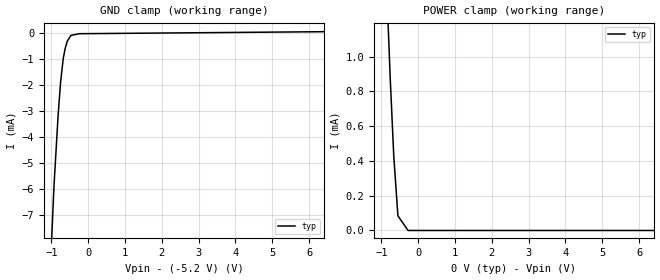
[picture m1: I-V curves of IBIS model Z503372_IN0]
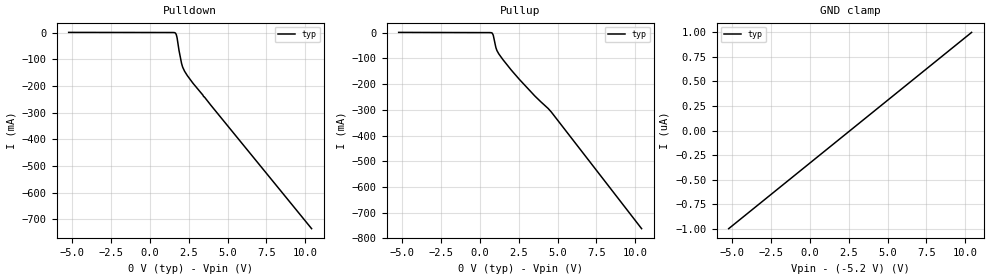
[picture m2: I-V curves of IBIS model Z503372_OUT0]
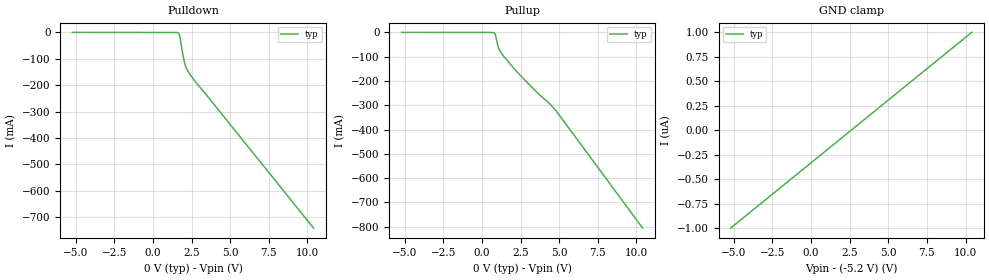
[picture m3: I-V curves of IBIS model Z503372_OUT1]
| YOU ARE ONLY AUTHORIZED TO USE THIS SOFTWARE
| ACCORDING TO LICENSOR'S LICENSE RESTRICTIONS.
[IBIS Ver] 3.1
[File Name] mc100e404fn.ibs
[File Rev] 2.0
[Source] Measured and created by ICX Technology
[Date] Friday 7/14/00 9:07:47 AM
[Copyright]
| (C) COPYRIGHT 1993-2000
| MENTOR GRAPHICS CORPORATION
| ICX STANDARD LIBRARY, ICX PROJECT MODELING,
| ICX CUSTOM MODELING, ICX VENDOR MODEL
| ALL RIGHTS RESERVED.
| THE FOLLOWING ARE TRADEMARKS OR SERVICE MARKS OF
| MENTOR GRAPHICS CORPORATION:ICX (R), ICX STANDARD
| LIBRARY(R), ICX PROJECT MODELING(R), ICX CUSTOM
| MODELING(R), qualityIBIS(TM), MODELVIEWER(TM),
| AND MODELEDITOR(TM)
| ALL COPIES OF SOFTWARE, INCLUDING BUT NOT LIMITED TO
| ANY MODIFICATIONS, ENHANCEMENTS OR DERIVATIVE WORKS,
| MUST CONTAIN ALL MENTOR GRAPHICS CORPORATION'S
| NOTICES AND LEGENDS, INCLUDING THOSE EMBEDDED IN
| SOFTWARE AND THOSE AFFIXED TO SOFTWARE MEDIUM
| AND CONTAINER, AS RECEIVED FROM MENTOR GRAPHICS
| CORPORATION.
|  ZAP Model Builder 2.7
[Component] MC100E404FN
[Manufacturer] OnSemiconductor
[Package]
| variable   typ   min   max
R_pkg  .083ohms NA NA
L_pkg  4.299nH NA NA
C_pkg  1.045pF NA NA
[Pin] signal_name  model_name  R_pin  L_pin C_pin
1 VEE POWER .08 3.94n .925p
2 D2A Z503372_IN0 .082 4.14n .995p
3 _D1B Z503372_IN0 .084 4.354n 1.065p
4 D1B Z503372_IN0 .086 4.583n 1.135p
5 _D1A Z503372_IN0 .086 4.583n 1.135p
6 D1A Z503372_IN0 .084 4.354n 1.065p
7 _D0B Z503372_IN0 .082 4.14n .995p
8 D0B Z503372_IN0 .08 3.94n .925p
9 _D0A Z503372_IN0 .082 4.14n .995p
10 D0A Z503372_IN0 .084 4.354n 1.065p
11 VCCO POWER .086 4.583n 1.135p
12 _Q0 Z503372_OUT0 .086 4.583n 1.135p
13 Q0 Z503372_OUT1 .084 4.354n 1.065p
14 Q1 Z503372_OUT1 .082 4.14n .995p
15 _Q1 Z503372_OUT0 .08 3.94n .925p
16 VCC POWER .082 4.14n .995p
17 Q2 Z503372_OUT1 .084 4.354n 1.065p
18 _Q2 Z503372_OUT0 .086 4.583n 1.135p
19 _Q3 Z503372_OUT0 .086 4.583n 1.135p
20 Q3 Z503372_OUT1 .084 4.354n 1.065p
21 VCCO POWER .082 4.14n .995p
22 _D3B Z503372_IN0 .08 3.94n .925p
23 D3B Z503372_IN0 .082 4.14n .995p
24 _D3A Z503372_IN0 .084 4.354n 1.065p
25 D3A Z503372_IN0 .086 4.583n 1.135p
26 _D2B Z503372_IN0 .086 4.583n 1.135p
27 D2B Z503372_IN0 .084 4.354n 1.065p
28 _D2A Z503372_IN0 .082 4.14n .995p
| Models and submodels in the file (3): Z503372_IN0 (Input_ECL), Z503372_OUT0 (Output_ECL), Z503372_OUT1 (Output_ECL)
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| (C) COPYRIGHT 1993-2000
| MENTOR GRAPHICS CORPORATION
| ICX STANDARD LIBRARY, ICX PROJECT MODELING,
| ICX CUSTOM MODELING, ICX VENDOR MODEL
| ALL RIGHTS RESERVED.
| THE FOLLOWING ARE TRADEMARKS OR SERVICE MARKS OF
| MENTOR GRAPHICS CORPORATION:ICX (R), ICX STANDARD
| LIBRARY(R), ICX PROJECT MODELING(R), ICX CUSTOM
| MODELING(R), qualityIBIS(TM), MODELVIEWER(TM),
| AND MODELEDITOR(TM)
| ALL COPIES OF SOFTWARE, INCLUDING BUT NOT LIMITED TO
| ANY MODIFICATIONS, ENHANCEMENTS OR DERIVATIVE WORKS,
| MUST CONTAIN ALL MENTOR GRAPHICS CORPORATION'S
| NOTICES AND LEGENDS, INCLUDING THOSE EMBEDDED IN
| SOFTWARE AND THOSE AFFIXED TO SOFTWARE MEDIUM
| AND CONTAINER, AS RECEIVED FROM MENTOR GRAPHICS
| CORPORATION.
| Model Application Version 1.89 2/18/99.
[Model] Z503372_IN0
Model_type Input_ECL
Vinl = -1.475V
Vinh = -1.165V
C_comp 4.000pF NA NA
| variable typ   min   max
[Voltage Range] -5.200V NA NA
[GND Clamp Reference] -5.200V NA NA
[POWER Clamp Reference] 0.000V NA NA
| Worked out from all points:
|   GND clamp passes 1 mA (typ) near -0.68 V on its own axis
[GND Clamp]
-5.2V     -187.7mA   NA         NA
-1.109V   -11.7mA    NA         NA
-928mV    -5.858mA   NA         NA
-816mV    -3.14mA    NA         NA
-750mV    -1.894mA   NA         NA
-678mV    -974.6uA   NA         NA
-622mV    -564.4uA   NA         NA
-566mV    -303.4uA   NA         NA
-466mV    -82.52uA   NA         NA
-233mV    -19.6uA    NA         NA
10.4V     105.1uA    NA         NA
[POWER Clamp]
-5.2V     32.93mA    NA         NA
-2.129V   9.507mA    NA         NA
-1.795V   7.048mA    NA         NA
-1.572V   5.527mA    NA         NA
-1.025V   2.321mA    NA         NA
-761.7mV  884.3uA    NA         NA
-664.1mV  429.8uA    NA         NA
-551.3mV  84.39uA    NA         NA
-275.6mV  0A         NA         NA
10.4V     0A         NA         NA
| (C) COPYRIGHT 1993-2000
| MENTOR GRAPHICS CORPORATION
| ICX STANDARD LIBRARY, ICX PROJECT MODELING,
| ICX CUSTOM MODELING, ICX VENDOR MODEL
| ALL RIGHTS RESERVED.
| THE FOLLOWING ARE TRADEMARKS OR SERVICE MARKS OF
| MENTOR GRAPHICS CORPORATION:ICX (R), ICX STANDARD
| LIBRARY(R), ICX PROJECT MODELING(R), ICX CUSTOM
| MODELING(R), qualityIBIS(TM), MODELVIEWER(TM),
| AND MODELEDITOR(TM)
| ALL COPIES OF SOFTWARE, INCLUDING BUT NOT LIMITED TO
| ANY MODIFICATIONS, ENHANCEMENTS OR DERIVATIVE WORKS,
| MUST CONTAIN ALL MENTOR GRAPHICS CORPORATION'S
| NOTICES AND LEGENDS, INCLUDING THOSE EMBEDDED IN
| SOFTWARE AND THOSE AFFIXED TO SOFTWARE MEDIUM
| AND CONTAINER, AS RECEIVED FROM MENTOR GRAPHICS
| CORPORATION.
| Model Application Version 1.89 2/18/99.
[Model] Z503372_OUT0
Model_type Output_ECL
Vref=-2.000V
Rref=50.00ohms
Cref=0.000F
Vmeas=-1.320V
C_comp 8.000pF NA NA
| variable typ   min   max
[Voltage Range] -5.200V NA NA
[POWER Clamp Reference] 0.000V NA NA
[Pullup Reference] 0.000V NA NA
[Pulldown Reference] 0.000V NA NA
[GND Clamp Reference] -5.200V NA NA
[GND Clamp]
-5.2V     -1uA       NA         NA
10.4V     1uA        NA         NA
[Pulldown]
-5.2V     438.1uA    NA         NA
1.503V    4.612uA    NA         NA
1.66V     -2.272mA   NA         NA
1.713V    -8.236mA   NA         NA
1.763V    -20.29mA   NA         NA
1.885V    -66.98mA   NA         NA
2.051V    -116.2mA   NA         NA
2.119V    -129.5mA   NA         NA
2.241V    -144.8mA   NA         NA
2.422V    -161.5mA   NA         NA
3.466V    -239.9mA   NA         NA
10.4V     -734.3mA   NA         NA
[Pullup]
-5.2V     794uA      NA         NA
805.1mV   -1.873mA   NA         NA
874mV     -10.05mA   NA         NA
1.04V     -57.76mA   NA         NA
1.109V    -69.73mA   NA         NA
1.49V     -104.6mA   NA         NA
2.541V    -181.2mA   NA         NA
3.546V    -246.5mA   NA         NA
4.6V      -308.5mA   NA         NA
10.4V     -761.9mA   NA         NA
[POWER Clamp]
-5.2V     0A         NA         NA
10.4V     0A         NA         NA
[Ramp]
| variable typ min max
dV/dt_r 482.0m/336.5p NA NA
dV/dt_f 482.0m/400.4p NA NA
R_load = 500.0Ohms
| (C) COPYRIGHT 1993-2000
| MENTOR GRAPHICS CORPORATION
| ICX STANDARD LIBRARY, ICX PROJECT MODELING,
| ICX CUSTOM MODELING, ICX VENDOR MODEL
| ALL RIGHTS RESERVED.
| THE FOLLOWING ARE TRADEMARKS OR SERVICE MARKS OF
| MENTOR GRAPHICS CORPORATION:ICX (R), ICX STANDARD
| LIBRARY(R), ICX PROJECT MODELING(R), ICX CUSTOM
| MODELING(R), qualityIBIS(TM), MODELVIEWER(TM),
| AND MODELEDITOR(TM)
| ALL COPIES OF SOFTWARE, INCLUDING BUT NOT LIMITED TO
| ANY MODIFICATIONS, ENHANCEMENTS OR DERIVATIVE WORKS,
| MUST CONTAIN ALL MENTOR GRAPHICS CORPORATION'S
| NOTICES AND LEGENDS, INCLUDING THOSE EMBEDDED IN
| SOFTWARE AND THOSE AFFIXED TO SOFTWARE MEDIUM
| AND CONTAINER, AS RECEIVED FROM MENTOR GRAPHICS
| CORPORATION.
| Model Application Version 1.89 2/18/99.
[Model] Z503372_OUT1
Model_type Output_ECL
Vref=-2.000V
Rref=50.00ohms
Cref=0.000F
Vmeas=-1.320V
C_comp 8.000pF NA NA
| variable typ   min   max
[Voltage Range] -5.200V NA NA
[POWER Clamp Reference] 0.000V NA NA
[Pullup Reference] 0.000V NA NA
[Pulldown Reference] 0.000V NA NA
[GND Clamp Reference] -5.200V NA NA
[GND Clamp]
-5.2V     -1uA       NA         NA
10.4V     1uA        NA         NA
[Pulldown]
-5.2V     467.9uA    NA         NA
1.66V     -2.302mA   NA         NA
1.713V    -8.227mA   NA         NA
1.763V    -20.12mA   NA         NA
1.885V    -66.54mA   NA         NA
2.051V    -115.5mA   NA         NA
2.12V     -128.6mA   NA         NA
2.241V    -143.8mA   NA         NA
2.422V    -160.6mA   NA         NA
10.4V     -741.4mA   NA         NA
[Pullup]
-5.2V     422.1uA    NA         NA
804.7mV   -1.97mA    NA         NA
874mV     -10.13mA   NA         NA
1.055V    -61.22mA   NA         NA
1.178V    -77.32mA   NA         NA
1.378V    -95.41mA   NA         NA
2.56V     -182mA     NA         NA
3.546V    -246mA     NA         NA
4.414V    -295.6mA   NA         NA
4.784V    -321.6mA   NA         NA
10.4V     -806.2mA   NA         NA
[POWER Clamp]
-5.2V     0A         NA         NA
10.4V     0A         NA         NA
[Ramp]
| variable typ min max
dV/dt_r 481.0m/118.6p NA NA
dV/dt_f 481.0m/98.52p NA NA
R_load = 500.0Ohms
